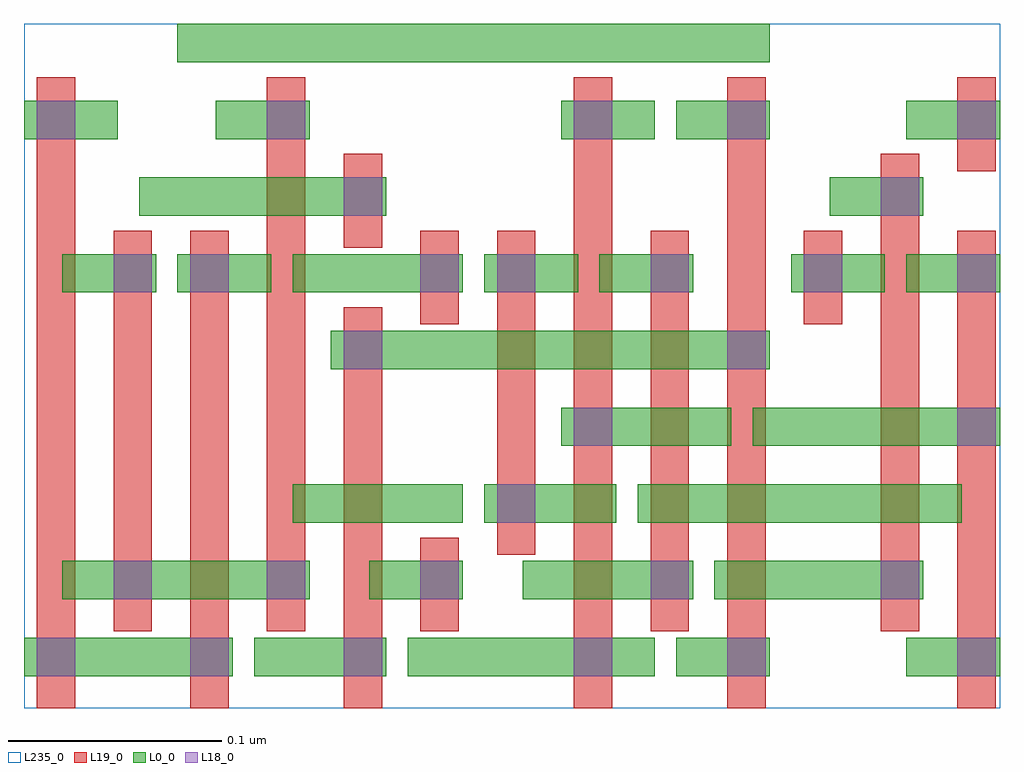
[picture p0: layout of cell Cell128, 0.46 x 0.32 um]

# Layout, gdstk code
import gdstk
lib = gdstk.Library(unit=1e-6, precision=2.5e-10)
def R(c, l, rs):  # rectangles x0, y0, x1, y1
    for r in rs: c.add(gdstk.rectangle(r[:2], r[2:], *l))
def A(c, l, x, y, w, h, nx, ny, dx, dy):  # array of equal rectangles
    R(c, l, [(x+i*dx, y+j*dy, x+i*dx+w, y+j*dy+h) for i in range(nx) for j in range(ny)])
L0_0 = (0, 0)
L18_0 = (18, 0)
L19_0 = (19, 0)
L235_0 = (235, 0)

cell128 = lib.new_cell('Cell128')
R(cell128, L0_0, [(0.004,-0.001,0.102,0.017), (0.112,-0.001,0.174,0.017), (0.184,-0.001,0.3,0.017), (0.31,-0.001,0.354,0.017), (0.418,-0.001,0.462,0.017), (0.022,0.035,0.138,0.053), (0.166,0.035,0.21,0.053), (0.238,0.035,0.318,0.053), (0.328,0.035,0.426,0.053), (0.13,0.071,0.21,0.089), (0.22,0.071,0.282,0.089), (0.292,0.071,0.444,0.089), (0.256,0.107,0.336,0.125), (0.346,0.107,0.462,0.125), (0.148,0.143,0.354,0.161), (0.022,0.179,0.066,0.197), (0.076,0.179,0.12,0.197), (0.13,0.179,0.21,0.197), (0.22,0.179,0.264,0.197), (0.274,0.179,0.318,0.197), (0.364,0.179,0.408,0.197), (0.418,0.179,0.462,0.197), (0.058,0.215,0.174,0.233), (0.382,0.215,0.426,0.233), (0.004,0.251,0.048,0.269), (0.094,0.251,0.138,0.269), (0.256,0.251,0.3,0.269), (0.31,0.251,0.354,0.269), (0.418,0.251,0.462,0.269), (0.076,0.287,0.354,0.305)])
A(cell128, L18_0, 0.01, -0.001, 0.018, 0.018, 3, 1, 0.072, 0)
A(cell128, L18_0, 0.046, 0.035, 0.018, 0.018, 3, 1, 0.072, 0)
A(cell128, L18_0, 0.226, 0.179, 0.018, 0.018, 4, 1, 0.072, 0)
R(cell128, L18_0, [(0.262,-0.001,0.28,0.017), (0.334,-0.001,0.352,0.017), (0.442,-0.001,0.46,0.017), (0.298,0.035,0.316,0.053), (0.406,0.035,0.424,0.053), (0.226,0.071,0.244,0.089), (0.262,0.107,0.28,0.125), (0.442,0.107,0.46,0.125), (0.154,0.143,0.172,0.161), (0.334,0.143,0.352,0.161), (0.046,0.179,0.064,0.197), (0.082,0.179,0.1,0.197), (0.19,0.179,0.208,0.197), (0.154,0.215,0.172,0.233), (0.406,0.215,0.424,0.233), (0.01,0.251,0.028,0.269), (0.118,0.251,0.136,0.269), (0.262,0.251,0.28,0.269), (0.334,0.251,0.352,0.269), (0.442,0.251,0.46,0.269)])
R(cell128, L19_0, [(0.01,-0.016,0.028,0.28), (0.082,-0.016,0.1,0.208), (0.154,-0.016,0.172,0.172), (0.262,-0.016,0.28,0.28), (0.334,-0.016,0.352,0.28), (0.442,-0.016,0.46,0.208), (0.046,0.02,0.064,0.208), (0.118,0.02,0.136,0.28), (0.19,0.02,0.208,0.064), (0.298,0.02,0.316,0.208), (0.406,0.02,0.424,0.244), (0.226,0.056,0.244,0.208), (0.19,0.164,0.208,0.208), (0.37,0.164,0.388,0.208), (0.154,0.2,0.172,0.244), (0.442,0.236,0.46,0.28)])
R(cell128, L235_0, [(0.004,-0.016,0.462,0.305)])

lib.write_gds('Cell128.gds')
